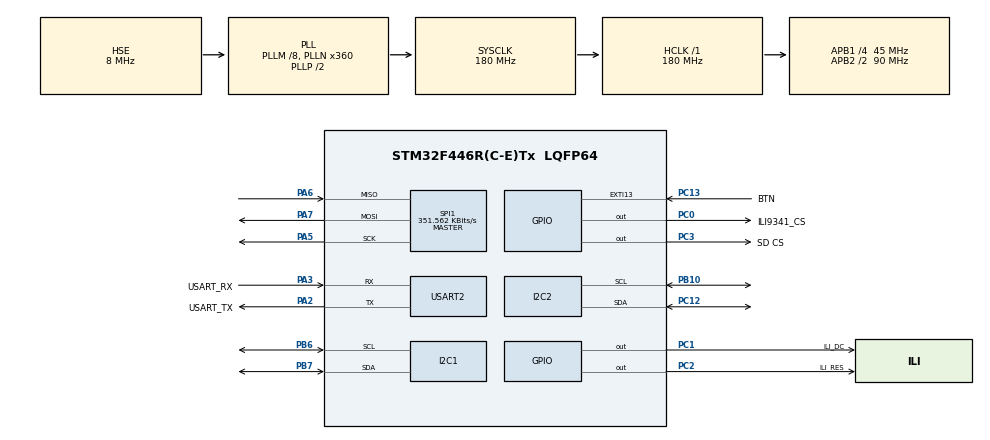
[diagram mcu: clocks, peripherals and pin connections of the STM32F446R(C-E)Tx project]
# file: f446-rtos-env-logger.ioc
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FREERTOS.Mutexes01=Spi1Mutex,Dynamic,NULL,Available
FREERTOS.Tasks01=Debug_Task,16,512,StartDebugTask,Default,NULL,Dynamic,NULL,NULL;LCD_Task,24,512,StartLcdTask,Default,NULL,Dynamic,NULL,NULL;Sensor_Task,25,256,StartSensorTask,Default,NULL,Dynamic,NULL,NULL;Logging_Task,8,300,StartLogTask,Default,NULL,Dynamic,NULL,NULL
FREERTOS.configCHECK_FOR_STACK_OVERFLOW=1
FREERTOS.configUSE_NEWLIB_REENTRANT=1
I2C1.I2C_Mode=I2C_Standard
I2C2.DutyCycle=I2C_DUTYCYCLE_2
I2C2.I2C_Mode=I2C_Fast
Mcu.Family=STM32F4
Mcu.Name=STM32F446R(C-E)Tx
Mcu.Package=LQFP64
NVIC.PriorityGroup=NVIC_PRIORITYGROUP_4
NVIC.TIM6_DAC_IRQn=true\:4\:0\:true\:false\:true\:false\:false\:true\:true
NVIC.TimeBase=TIM6_DAC_IRQn
NVIC.TimeBaseIP=TIM6
PA13.GPIO_Label=TMS
PA13.Mode=Serial_Wire
PA13.Signal=SYS_JTMS-SWDIO
PA14.GPIO_Label=TCK
PA14.Mode=Serial_Wire
PA14.Signal=SYS_JTCK-SWCLK
PA2.GPIO_Label=USART_TX
PA2.Mode=Asynchronous
PA2.Signal=USART2_TX
PA3.GPIO_Label=USART_RX
PA3.Mode=Asynchronous
PA3.Signal=USART2_RX
PA5.Mode=Full_Duplex_Master
PA5.Signal=SPI1_SCK
PA6.Mode=Full_Duplex_Master
PA6.Signal=SPI1_MISO
PA7.Mode=Full_Duplex_Master
PA7.Signal=SPI1_MOSI
PB10.Mode=I2C
PB10.Signal=I2C2_SCL
PB3.Signal=SYS_JTDO-SWO
PB6.Mode=I2C
PB6.Signal=I2C1_SCL
PB7.Mode=I2C
PB7.Signal=I2C1_SDA
PC0.GPIO_Label=ILI9341_CS
PC0.PinState=GPIO_PIN_SET
PC0.Signal=GPIO_Output
PC1.GPIO_Label=ILI_DC
PC1.Signal=GPIO_Output
PC12.Mode=I2C
PC12.Signal=I2C2_SDA
PC13.GPIO_Label=BTN
PC13.GPIO_ModeDefaultEXTI=GPIO_MODE_IT_FALLING
PC13.GPIO_PuPd=GPIO_PULLUP
PC13.Signal=GPXTI13
PC14-OSC32_IN.Mode=LSE-External-Oscillator
PC14-OSC32_IN.Signal=RCC_OSC32_IN
PC15-OSC32_OUT.Mode=LSE-External-Oscillator
PC15-OSC32_OUT.Signal=RCC_OSC32_OUT
PC2.GPIO_Label=ILI_RES
PC2.Signal=GPIO_Output
PC3.GPIO_Label=SD CS
PC3.GPIO_PuPd=GPIO_NOPULL
PC3.GPIO_Speed=GPIO_SPEED_FREQ_LOW
PC3.PinState=GPIO_PIN_SET
PC3.Signal=GPIO_Output
PH0-OSC_IN.Mode=HSE-External-Oscillator
PH0-OSC_IN.Signal=RCC_OSC_IN
PH1-OSC_OUT.Mode=HSE-External-Oscillator
PH1-OSC_OUT.Signal=RCC_OSC_OUT
ProjectManager.HeapSize=0x200
ProjectManager.StackSize=0x400
ProjectManager.TargetToolchain=STM32CubeIDE
RCC.48MHZClocksFreq_Value=84000000
RCC.AHBFreq_Value=180000000
RCC.APB1CLKDivider=RCC_HCLK_DIV4
RCC.APB1Freq_Value=45000000
RCC.APB1TimFreq_Value=90000000
RCC.APB2CLKDivider=RCC_HCLK_DIV2
RCC.APB2Freq_Value=90000000
RCC.APB2TimFreq_Value=180000000
RCC.CortexFreq_Value=180000000
RCC.FLatency-AdvancedSettings=FLASH_LATENCY_5
RCC.HCLKFreq_Value=180000000
RCC.HSE_VALUE=8000000
RCC.HSI_VALUE=16000000
RCC.PLLM=8
RCC.PLLN=360
RCC.PLLSourceVirtual=RCC_PLLSOURCE_HSE
RCC.SYSCLKFreq_VALUE=180000000
RCC.SYSCLKSource=RCC_SYSCLKSOURCE_PLLCLK
RCC.USBFreq_Value=180000000
RCC.VCOOutputFreq_Value=360000000
SPI1.BaudRatePrescaler=SPI_BAUDRATEPRESCALER_256
SPI1.CalculateBaudRate=351.562 KBits/s
SPI1.Direction=SPI_DIRECTION_2LINES
SPI1.Mode=SPI_MODE_MASTER
SPI1.VirtualType=VM_MASTER
USART2.VirtualMode=VM_ASYNC
VP_FATFS_VS_Generic.Mode=User_defined
VP_FREERTOS_VS_CMSIS_V2.Mode=CMSIS_V2
VP_SYS_VS_tim6.Mode=TIM6
board=NUCLEO-F446RE

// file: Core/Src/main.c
/* USER CODE BEGIN Header */
/**
 ******************************************************************************
 * @file           : main.c
 * @brief          : Main program body
 ******************************************************************************
 * @attention
 *
 * Copyright (c) 2025 STMicroelectronics.
 * All rights reserved.
 *
 * This software is licensed under terms that can be found in the LICENSE file
 * in the root directory of this software component.
 * If no LICENSE file comes with this software, it is provided AS-IS.
 *
 ******************************************************************************
 */
/* USER CODE END Header */
#include "main.h"
#include "cmsis_os.h"
#include "fatfs.h"

/* USER CODE BEGIN Includes */
#include <stdio.h>
#include <string.h>
#include <stdbool.h>
#include <stdarg.h>

#include "ili9341.h"
#include "sensors.h"

#include "queue.h"
/* USER CODE END Includes */

I2C_HandleTypeDef hi2c1;
I2C_HandleTypeDef hi2c2;

SPI_HandleTypeDef hspi1;

UART_HandleTypeDef huart2;

/* Definitions for Debug_Task */
osThreadId_t Debug_TaskHandle;
const osThreadAttr_t Debug_Task_attributes = {
  .name = "Debug_Task",
  .stack_size = 512 * 4,
  .priority = (osPriority_t) osPriorityBelowNormal,
};
/* Definitions for LCD_Task */
osThreadId_t LCD_TaskHandle;
const osThreadAttr_t LCD_Task_attributes = {
  .name = "LCD_Task",
  .stack_size = 512 * 4,
  .priority = (osPriority_t) osPriorityNormal,
};
/* Definitions for Sensor_Task */
osThreadId_t Sensor_TaskHandle;
const osThreadAttr_t Sensor_Task_attributes = {
  .name = "Sensor_Task",
  .stack_size = 256 * 4,
  .priority = (osPriority_t) osPriorityNormal1,
};
/* Definitions for Logging_Task */
osThreadId_t Logging_TaskHandle;
const osThreadAttr_t Logging_Task_attributes = {
  .name = "Logging_Task",
  .stack_size = 300 * 4,
  .priority = (osPriority_t) osPriorityLow,
};
/* Definitions for Spi1Mutex */
osMutexId_t Spi1MutexHandle;
const osMutexAttr_t Spi1Mutex_attributes = {
  .name = "Spi1Mutex"
};
/* USER CODE BEGIN PV */
QueueHandle_t xSensorToLcd;
QueueHandle_t xSensorToLog;

static uint32_t sampleCount = 0;

volatile bool gLoggingEnabled = false;

// data from all sensors
SensorData_t gSensorData;

/* USER CODE END PV */

void SystemClock_Config(void);
static void MX_GPIO_Init(void);
static void MX_USART2_UART_Init(void);
static void MX_I2C1_Init(void);
static void MX_SPI1_Init(void);
static void MX_I2C2_Init(void);
void StartDebugTask(void *argument);
void StartLcdTask(void *argument);
void StartSensorTask(void *argument);
void StartLogTask(void *argument);

/* USER CODE BEGIN 0 */

static void SPI1_SetSpeedHigh(void) {
	hspi1.Init.BaudRatePrescaler = SPI_BAUDRATEPRESCALER_4;
	HAL_SPI_Init(&hspi1);
}

static void debug_printf(const char *fmt, ...) {
#if defined(USE_UART_DEBUG)
	char buf[256];
	va_list args;
	va_start(args, fmt);
	int len = vsnprintf(buf, sizeof(buf), fmt, args);
	va_end(args);

	if (len > 0) {
		HAL_UART_Transmit(&huart2, (uint8_t*) buf, len, 50);
	}
#else
	(void)fmt;
#endif
}

/* USER CODE END 0 */

int main(void)
{

  /* MCU Configuration--------------------------------------------------------*/

  /* Reset of all peripherals, Initializes the Flash interface and the Systick. */
  HAL_Init();

  /* Configure the system clock */
  SystemClock_Config();

  /* Initialize all configured peripherals */
  MX_GPIO_Init();
  MX_USART2_UART_Init();
  MX_I2C1_Init();
  MX_SPI1_Init();
  MX_FATFS_Init();
  MX_I2C2_Init();
  /* USER CODE BEGIN 2 */

	// Try to mount a few times
	for (int i = 0; i < 5; ++i) {
		retUSER = f_mount(&USERFatFS, (TCHAR const*) USERPath, 1);
		if (retUSER == FR_OK) {
			break;
		}
		HAL_Delay(10);
	}

	// Let SPI go full speed.
	SPI1_SetSpeedHigh();

	// Initialize LCD
	ILI9341_Init();
	ILI9341_FillScreen(ILI9341_WHITE);

	// Try to initialize TSL2591
	for (int i = 0; i < 5; ++i) {
		if (TSL2591_Init(TSL2591_INT_NONE))
			break;
		HAL_Delay(200);
	}

	// Initialize BME280
	if (BME280_Init() != HAL_OK) {
		Error_Handler();
	}

	if (!MPU6050_Init(MPU6050_ACCEL_FS_2G, MPU6050_GYRO_FS_250DPS)) {
		Error_Handler();
	}

  /* USER CODE END 2 */

  /* Init scheduler */
  osKernelInitialize();
  /* Create the mutex(es) */
  /* creation of Spi1Mutex */
  Spi1MutexHandle = osMutexNew(&Spi1Mutex_attributes);

  /* USER CODE BEGIN RTOS_QUEUES */
	xSensorToLcd = xQueueCreate(5, sizeof(SensorData_t));
	if (xSensorToLcd == NULL) {
		Error_Handler();
	}

	xSensorToLog = xQueueCreate(5, sizeof(SensorData_t));
	if (xSensorToLog == NULL) {
		Error_Handler();
	}
  /* USER CODE END RTOS_QUEUES */

  /* Create the thread(s) */
  /* creation of Debug_Task */
  Debug_TaskHandle = osThreadNew(StartDebugTask, NULL, &Debug_Task_attributes);

  /* creation of LCD_Task */
  LCD_TaskHandle = osThreadNew(StartLcdTask, NULL, &LCD_Task_attributes);

  /* creation of Sensor_Task */
  Sensor_TaskHandle = osThreadNew(StartSensorTask, NULL, &Sensor_Task_attributes);

  /* creation of Logging_Task */
  Logging_TaskHandle = osThreadNew(StartLogTask, NULL, &Logging_Task_attributes);

  /* Start scheduler */
  osKernelStart();

  /* We should never get here as control is now taken by the scheduler */

  /* Infinite loop */
	while (1) {

	}
}

void SystemClock_Config(void)
{
  RCC_OscInitTypeDef RCC_OscInitStruct = {0};
  RCC_ClkInitTypeDef RCC_ClkInitStruct = {0};

  /** Configure the main internal regulator output voltage
  */
  __HAL_RCC_PWR_CLK_ENABLE();
  __HAL_PWR_VOLTAGESCALING_CONFIG(PWR_REGULATOR_VOLTAGE_SCALE1);

  /** Initializes the RCC Oscillators according to the specified parameters
  * in the RCC_OscInitTypeDef structure.
  */
  RCC_OscInitStruct.OscillatorType = RCC_OSCILLATORTYPE_HSE;
  RCC_OscInitStruct.HSEState = RCC_HSE_ON;
  RCC_OscInitStruct.PLL.PLLState = RCC_PLL_ON;
  RCC_OscInitStruct.PLL.PLLSource = RCC_PLLSOURCE_HSE;
  RCC_OscInitStruct.PLL.PLLM = 8;
  RCC_OscInitStruct.PLL.PLLN = 360;
  RCC_OscInitStruct.PLL.PLLP = RCC_PLLP_DIV2;
  RCC_OscInitStruct.PLL.PLLQ = 2;
  RCC_OscInitStruct.PLL.PLLR = 2;
  if (HAL_RCC_OscConfig(&RCC_OscInitStruct) != HAL_OK)
  {
    Error_Handler();
  }

  /** Activate the Over-Drive mode
  */
  if (HAL_PWREx_EnableOverDrive() != HAL_OK)
  {
    Error_Handler();
  }

  /** Initializes the CPU, AHB and APB buses clocks
  */
  RCC_ClkInitStruct.ClockType = RCC_CLOCKTYPE_HCLK|RCC_CLOCKTYPE_SYSCLK
                              |RCC_CLOCKTYPE_PCLK1|RCC_CLOCKTYPE_PCLK2;
  RCC_ClkInitStruct.SYSCLKSource = RCC_SYSCLKSOURCE_PLLCLK;
  RCC_ClkInitStruct.AHBCLKDivider = RCC_SYSCLK_DIV1;
  RCC_ClkInitStruct.APB1CLKDivider = RCC_HCLK_DIV4;
  RCC_ClkInitStruct.APB2CLKDivider = RCC_HCLK_DIV2;

  if (HAL_RCC_ClockConfig(&RCC_ClkInitStruct, FLASH_LATENCY_5) != HAL_OK)
  {
    Error_Handler();
  }
}

static void MX_I2C1_Init(void)
{

  hi2c1.Instance = I2C1;
  hi2c1.Init.ClockSpeed = 100000;
  hi2c1.Init.DutyCycle = I2C_DUTYCYCLE_2;
  hi2c1.Init.OwnAddress1 = 0;
  hi2c1.Init.AddressingMode = I2C_ADDRESSINGMODE_7BIT;
  hi2c1.Init.DualAddressMode = I2C_DUALADDRESS_DISABLE;
  hi2c1.Init.OwnAddress2 = 0;
  hi2c1.Init.GeneralCallMode = I2C_GENERALCALL_DISABLE;
  hi2c1.Init.NoStretchMode = I2C_NOSTRETCH_DISABLE;
  if (HAL_I2C_Init(&hi2c1) != HAL_OK)
  {
    Error_Handler();
  }

}

static void MX_I2C2_Init(void)
{

  hi2c2.Instance = I2C2;
  hi2c2.Init.ClockSpeed = 400000;
  hi2c2.Init.DutyCycle = I2C_DUTYCYCLE_2;
  hi2c2.Init.OwnAddress1 = 0;
  hi2c2.Init.AddressingMode = I2C_ADDRESSINGMODE_7BIT;
  hi2c2.Init.DualAddressMode = I2C_DUALADDRESS_DISABLE;
  hi2c2.Init.OwnAddress2 = 0;
  hi2c2.Init.GeneralCallMode = I2C_GENERALCALL_DISABLE;
  hi2c2.Init.NoStretchMode = I2C_NOSTRETCH_DISABLE;
  if (HAL_I2C_Init(&hi2c2) != HAL_OK)
  {
    Error_Handler();
  }

}

static void MX_SPI1_Init(void)
{

  /* SPI1 parameter configuration*/
  hspi1.Instance = SPI1;
  hspi1.Init.Mode = SPI_MODE_MASTER;
  hspi1.Init.Direction = SPI_DIRECTION_2LINES;
  hspi1.Init.DataSize = SPI_DATASIZE_8BIT;
  hspi1.Init.CLKPolarity = SPI_POLARITY_LOW;
  hspi1.Init.CLKPhase = SPI_PHASE_1EDGE;
  hspi1.Init.NSS = SPI_NSS_SOFT;
  hspi1.Init.BaudRatePrescaler = SPI_BAUDRATEPRESCALER_256;
  hspi1.Init.FirstBit = SPI_FIRSTBIT_MSB;
  hspi1.Init.TIMode = SPI_TIMODE_DISABLE;
  hspi1.Init.CRCCalculation = SPI_CRCCALCULATION_DISABLE;
  hspi1.Init.CRCPolynomial = 10;
  if (HAL_SPI_Init(&hspi1) != HAL_OK)
  {
    Error_Handler();
  }

}

static void MX_USART2_UART_Init(void)
{

  /* USER CODE BEGIN USART2_Init 0 */
#ifdef USE_UART_DEBUG
  /* USER CODE END USART2_Init 0 */

  huart2.Instance = USART2;
  huart2.Init.BaudRate = 115200;
  huart2.Init.WordLength = UART_WORDLENGTH_8B;
  huart2.Init.StopBits = UART_STOPBITS_1;
  huart2.Init.Parity = UART_PARITY_NONE;
  huart2.Init.Mode = UART_MODE_TX_RX;
  huart2.Init.HwFlowCtl = UART_HWCONTROL_NONE;
  huart2.Init.OverSampling = UART_OVERSAMPLING_16;
  if (HAL_UART_Init(&huart2) != HAL_OK)
  {
    Error_Handler();
  }
  /* USER CODE BEGIN USART2_Init 2 */
#endif
  /* USER CODE END USART2_Init 2 */

}

static void MX_GPIO_Init(void)
{
  GPIO_InitTypeDef GPIO_InitStruct = {0};

  /* GPIO Ports Clock Enable */
  __HAL_RCC_GPIOC_CLK_ENABLE();
  __HAL_RCC_GPIOH_CLK_ENABLE();
  __HAL_RCC_GPIOA_CLK_ENABLE();
  __HAL_RCC_GPIOB_CLK_ENABLE();

  /*Configure GPIO pin Output Level */
  HAL_GPIO_WritePin(GPIOC, ILI9341_CS_Pin|SD_CS_Pin, GPIO_PIN_SET);

  /*Configure GPIO pin Output Level */
  HAL_GPIO_WritePin(GPIOC, ILI_DC_Pin|ILI_RES_Pin, GPIO_PIN_RESET);

  /*Configure GPIO pin : BTN_Pin */
  GPIO_InitStruct.Pin = BTN_Pin;
  GPIO_InitStruct.Mode = GPIO_MODE_IT_FALLING;
  GPIO_InitStruct.Pull = GPIO_PULLUP;
  HAL_GPIO_Init(BTN_GPIO_Port, &GPIO_InitStruct);

  /*Configure GPIO pins : ILI9341_CS_Pin ILI_DC_Pin ILI_RES_Pin SD_CS_Pin */
  GPIO_InitStruct.Pin = ILI9341_CS_Pin|ILI_DC_Pin|ILI_RES_Pin|SD_CS_Pin;
  GPIO_InitStruct.Mode = GPIO_MODE_OUTPUT_PP;
  GPIO_InitStruct.Pull = GPIO_NOPULL;
  GPIO_InitStruct.Speed = GPIO_SPEED_FREQ_LOW;
  HAL_GPIO_Init(GPIOC, &GPIO_InitStruct);

  /* USER CODE BEGIN MX_GPIO_Init_2 */
	// Enable button interrupt
	HAL_NVIC_SetPriority(EXTI15_10_IRQn, 15, 1);
	HAL_NVIC_EnableIRQ(EXTI15_10_IRQn);
  /* USER CODE END MX_GPIO_Init_2 */
}

/* USER CODE BEGIN 4 */

void HAL_GPIO_EXTI_Callback(uint16_t GPIO_Pin) {
	// PC13 is button
	if (GPIO_Pin == GPIO_PIN_13) {
		BaseType_t higherPriorityTaskWoken = pdFALSE;

		vTaskNotifyGiveFromISR(Debug_TaskHandle, &higherPriorityTaskWoken);

		portYIELD_FROM_ISR(higherPriorityTaskWoken);
	}
}

/* USER CODE END 4 */

void StartDebugTask(void *argument)
{
  /* USER CODE BEGIN 5 */
	char buf[130];
	UINT bw;
	/* Infinite loop */
	for (;;) {
		// Wait for a notification from ISR
		ulTaskNotifyTake(pdTRUE, portMAX_DELAY);

		osMutexAcquire(Spi1MutexHandle, portMAX_DELAY);
		if (gLoggingEnabled) {
			// Disable logging and close the file
			int len = snprintf(buf, sizeof(buf), "[LOG END]\r\n");
			f_write(&USERFile, buf, len, &bw);
			f_sync(&USERFile);
			f_close(&USERFile);
			gLoggingEnabled = false;
		} else {
			// Enable logging and open file, disable if unable to open file.
			retUSER = f_open(&USERFile, "log.csv", FA_OPEN_APPEND | FA_WRITE);
			if (retUSER != FR_OK) {
				debug_printf("Failed to open 'log.csv'.\r\n");
				gLoggingEnabled = false;
			} else {
				debug_printf("Logging to file 'log.csv'.\r\n");
				gLoggingEnabled = true;
				int len = snprintf(buf, sizeof(buf), "[LOG BEG]\r\n");
				f_write(&USERFile, buf, len, &bw);
			}
		}
		osMutexRelease(Spi1MutexHandle);

		UBaseType_t lcdMin = uxTaskGetStackHighWaterMark(
				(TaskHandle_t) LCD_TaskHandle);
		UBaseType_t sensorMin = uxTaskGetStackHighWaterMark(
				(TaskHandle_t) Sensor_TaskHandle);
		UBaseType_t logMin = uxTaskGetStackHighWaterMark(
				(TaskHandle_t) Logging_TaskHandle);
		UBaseType_t debugMin = uxTaskGetStackHighWaterMark(
				(TaskHandle_t) Debug_TaskHandle);

		debug_printf("LCD free stack: %lu words\r\n"
				"Sensor free stack: %lu words\r\n"
				"Log free stack: %lu words\r\n"
				"Debug free stack: %lu words\r\n"
				"Logging: %s\r\n\r\n", (unsigned long) lcdMin,
				(unsigned long) sensorMin, (unsigned long) logMin,
				(unsigned long) debugMin, gLoggingEnabled ? "ON" : "OFF");

	}
  /* USER CODE END 5 */
}

void StartLcdTask(void *argument)
{
  /* USER CODE BEGIN StartLcdTask */
	SensorData_t sensorData = { };

	/* Infinite loop */
	for (;;) {
		if (xQueueReceive(xSensorToLcd, &sensorData, portMAX_DELAY) == pdPASS) {
			osMutexAcquire(Spi1MutexHandle, portMAX_DELAY);

			char line1[50];
			char line2[32];
			char line3[25];
			char line4[30];
			char line5[40];
			char line6[15];

			if(sensorData.shtData.ok) {
				// Humidity stored in 0-1000 (0.0-100.0) and temp in milli C
				int32_t t = sensorData.shtData.temperature;
				int32_t temp_int = t / 1000;
				int32_t temp_frac = (t >= 0) ? (t % 1000) : ((-t) % 1000);
				uint32_t h = sensorData.shtData.humidity;

				snprintf(line1, sizeof(line1),
						"T: %ld.%03ld C    H: %lu.%01lu %%RH", temp_int, temp_frac, h / 10, h % 10);
			} else {
				snprintf(line1, sizeof(line1), "SHT31 Sensor ERROR!");
			}

			if(sensorData.tslData.ok) {
				// Format lux
				if (sensorData.tslData.lux < 0) {
					snprintf(line2, sizeof(line2), "Saturated");
				} else {
					snprintf(line2, sizeof(line2), "%ld lx", (long)sensorData.tslData.lux);
				}
			} else {
				snprintf(line2, sizeof(line2), "TSL2591 Sensor ERROR!");
			}

			if(sensorData.bmeData.ok) {
				// Pressure
				uint32_t p_int = sensorData.bmeData.pressure / 100;
				uint32_t p_frac = sensorData.bmeData.pressure % 100;
				snprintf(line3, sizeof(line3), "P: %ld.%01ld hPa", p_int, p_frac);
			} else {
				snprintf(line3, sizeof(line3), "BME280 Sensor ERROR!");
			}

			if(sensorData.mpuData.ok) {
				// accel
				snprintf(line4, sizeof(line4), "Ax:%4ld Ay:%4ld Az:%4ld",
						sensorData.mpuData.accelX, sensorData.mpuData.accelY, sensorData.mpuData.accelZ);

				// gyro
				int32_t gxDps = sensorData.mpuData.gyroX / 1000;
				int32_t gyDps = sensorData.mpuData.gyroY / 1000;
				int32_t gzDps = sensorData.mpuData.gyroZ / 1000;
				snprintf(line5, sizeof(line5), "Gx:%ld Gy:%ld Gz:%ld", (long) gxDps,
						(long) gyDps, (long) gzDps);
			} else {
				snprintf(line4, sizeof(line4), "MPU6050 Sensor ERROR!");
				snprintf(line5, sizeof(line5), "MPU6050 Sensor ERROR!");
			}

			// Logging status
			snprintf(line6, sizeof(line6), "Logging %s",
					gLoggingEnabled ? "ON" : "OFF");

			ILI9341_FillRectangle(0, 0, ILI9341_WIDTH, 20, ILI9341_WHITE);
			ILI9341_WriteString(2, 2, line1, Font_11x18, ILI9341_BLACK,
			ILI9341_WHITE);

			ILI9341_FillRectangle(0, 22, ILI9341_WIDTH, 20, ILI9341_WHITE);
			ILI9341_WriteString(2, 24, line2, Font_11x18, ILI9341_BLACK,
			ILI9341_WHITE);

			ILI9341_FillRectangle(0, 44, ILI9341_WIDTH, 20, ILI9341_WHITE);
			ILI9341_WriteString(2, 46, line3, Font_11x18, ILI9341_BLACK,
			ILI9341_WHITE);

			ILI9341_FillRectangle(0, 66, ILI9341_WIDTH, 20, ILI9341_WHITE);
			ILI9341_WriteString(2, 68, line4, Font_11x18, ILI9341_BLACK,
			ILI9341_WHITE);

			ILI9341_FillRectangle(0, 88, ILI9341_WIDTH, 20, ILI9341_WHITE);
			ILI9341_WriteString(2, 90, line5, Font_11x18, ILI9341_BLACK,
			ILI9341_WHITE);

			ILI9341_FillRectangle(0, 108, ILI9341_WIDTH, 20, ILI9341_WHITE);
			ILI9341_WriteString(2, 110, line6, Font_11x18, ILI9341_BLACK,
			ILI9341_WHITE);

			osMutexRelease(Spi1MutexHandle);
		}
	}
  /* USER CODE END StartLcdTask */
}

void StartSensorTask(void *argument)
{
  /* USER CODE BEGIN StartSensorTask */
	SensorData_t sensorData = {};

	TickType_t lastWakeTime;
	const TickType_t taskFreq = pdMS_TO_TICKS(1000);

	// SHT31
	uint8_t shtRawData[6] = { };

	// TSL2591
	uint16_t chs[2] = { };

	// BME280
	int32_t raw_press;
	int32_t raw_temp;
	int32_t raw_humid;

	// MPU6050
	MPU6050_Raw_t imuRaw;
	MPU6050_Scaled_t imuScaled;

	bool sht31Measure = false;

	lastWakeTime = xTaskGetTickCount();
	/* Infinite loop */
	for (;;) {
		HAL_GPIO_TogglePin(TASK_DEBUG_GPIO_Port, TASK_DEBUG_Pin);

		TickType_t measStart = xTaskGetTickCount();
		sht31Measure = SHT31_StartMeasurement();

		sensorData.timestamp = xTaskGetTickCount();

		if(TSL2591_ReadChannels(&chs[0], &chs[1])) {
			sensorData.tslData.ok = true;
			sensorData.tslData.lux = TSL2591_CalcIntLux(chs[0], chs[1]);
		} else {
			sensorData.tslData.ok = false;
		}

		if(BME280_ReadRaw(&raw_temp, &raw_press, &raw_humid)) {
			sensorData.bmeData.ok = true;
			sensorData.bmeData.pressure = BME280_CompensatePressure(raw_press, raw_temp);
		} else {
			sensorData.bmeData.ok = false;
		}

		// MPU read
		if (MPU6050_ReadRaw(&imuRaw)) {
			sensorData.mpuData.ok = true;
			MPU6050_Convert(&imuRaw, MPU6050_ACCEL_FS_2G,
					MPU6050_GYRO_FS_250DPS, &imuScaled);

			sensorData.mpuData.accelX = imuScaled.axMg;
			sensorData.mpuData.accelY = imuScaled.ayMg;
			sensorData.mpuData.accelZ = imuScaled.azMg;
			sensorData.mpuData.gyroX = imuScaled.gxMdps;
			sensorData.mpuData.gyroY = imuScaled.gyMdps;
			sensorData.mpuData.gyroZ = imuScaled.gzMdps;
		} else {
			sensorData.mpuData.ok = false;
		}

		vTaskDelayUntil(&measStart, pdMS_TO_TICKS(20));

		if(sht31Measure && SHT31_ReadSensor(shtRawData)) {
			sensorData.shtData.ok = true;
			SHT31_ConvertFromRaw(shtRawData, &sensorData.shtData.humidity,
									   &sensorData.shtData.temperature);
		} else {
			sensorData.shtData.ok = false;
		}

		xQueueSend(xSensorToLcd, &sensorData, pdMS_TO_TICKS(10));

		// Log every 5 seconds
		if (gLoggingEnabled && (sampleCount % 2) == 0) {
			xQueueSendToBack(xSensorToLog, &sensorData, 0);
		}

		++sampleCount;

		vTaskDelayUntil(&lastWakeTime, taskFreq);
	}
  /* USER CODE END StartSensorTask */
}

void StartLogTask(void *argument)
{
  /* USER CODE BEGIN StartLogTask */
	SensorData_t sData;
	UINT bw;
	uint32_t count = 0;

	/* Infinite loop */
	for (;;) {
		if (xQueueReceive(xSensorToLog, &sData, portMAX_DELAY) == pdPASS) {
			char line[64];
			// timestamp,temperature,humidity,pressure(Pa),lux,accelx,accely,accelz,gyrox,gyroy,gyroz
			int len = snprintf(line, sizeof(line),
					"%lu,%ld,%lu,%ld,%ld,%ld,%ld,%ld,%ld,%ld,%ld\r\n",
					(unsigned long) sData.timestamp,
					(long int) sData.shtData.temperature,
					(unsigned long) sData.shtData.humidity, (long int) sData.bmeData.pressure,
					(long int) sData.tslData.lux, (long int) sData.mpuData.accelX,
					(long int) sData.mpuData.accelY, (long int) sData.mpuData.accelZ,
					(long int) sData.mpuData.gyroX, (long int) sData.mpuData.gyroY,
					(long int) sData.mpuData.gyroZ);

			osMutexAcquire(Spi1MutexHandle, portMAX_DELAY);

			f_write(&USERFile, line, len, &bw);

			// sync every 5 writes
			if (count % 5 == 0) {
				f_sync(&USERFile);
			}

			++count;

			osMutexRelease(Spi1MutexHandle);
		}
	}
  /* USER CODE END StartLogTask */
}

void HAL_TIM_PeriodElapsedCallback(TIM_HandleTypeDef *htim)
{
  if (htim->Instance == TIM6)
  {
    HAL_IncTick();
  }
}

void Error_Handler(void)
{
	__disable_irq();
	while (1) {
	}
}

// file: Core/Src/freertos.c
/* USER CODE BEGIN Header */
/**
 ******************************************************************************
 * File Name          : freertos.c
 * Description        : Code for freertos applications
 ******************************************************************************
 * @attention
 *
 * Copyright (c) 2025 STMicroelectronics.
 * All rights reserved.
 *
 * This software is licensed under terms that can be found in the LICENSE file
 * in the root directory of this software component.
 * If no LICENSE file comes with this software, it is provided AS-IS.
 *
 ******************************************************************************
 */
/* USER CODE END Header */

#include "FreeRTOS.h"
#include "task.h"
#include "main.h"

/* Hook prototypes */
void vApplicationStackOverflowHook(xTaskHandle xTask, signed char *pcTaskName);

/* USER CODE BEGIN 4 */
void vApplicationStackOverflowHook(xTaskHandle xTask, signed char *pcTaskName) {
	/* Run time stack overflow checking is performed if
	 configCHECK_FOR_STACK_OVERFLOW is defined to 1 or 2. This hook function is
	 called if a stack overflow is detected. */
	(void) xTask;
	(void) pcTaskName;

	taskDISABLE_INTERRUPTS();
	for (;;) {
		HAL_GPIO_TogglePin(GPIOA, GPIO_PIN_5);

		for (volatile uint32_t i = 0; i < 1000000; ++i) {
			__NOP();
		}
	}
}
/* USER CODE END 4 */
